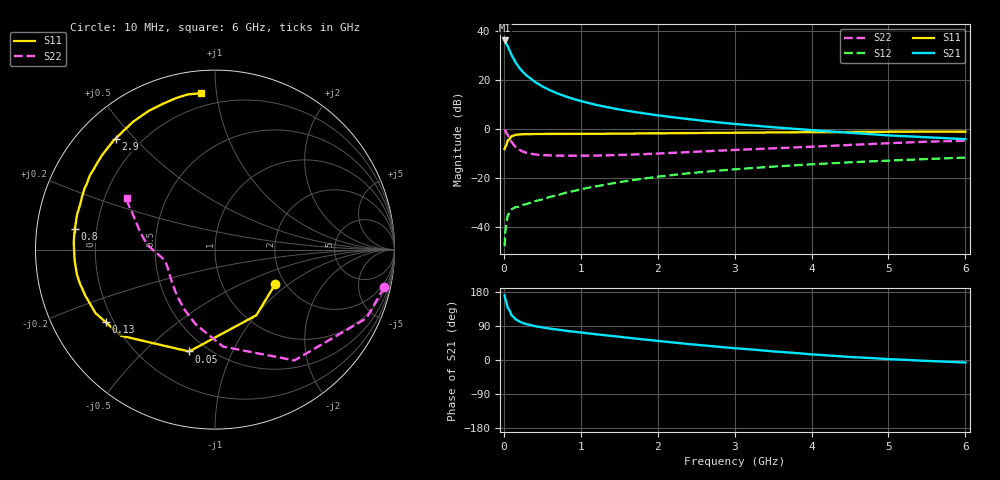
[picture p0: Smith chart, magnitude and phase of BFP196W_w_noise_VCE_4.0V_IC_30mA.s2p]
! Infineon Technologies  Discrete & RF Semiconductors
! BFP196W
! VCE =  4.0 V,  IC =  30 mA
! Common Emitter S-Parameters:  Jan 2017
# GHz  S  MA  R  50
!  f  S11  S21  S12  S22
! GHz  MAG  ANG  MAG  ANG  MAG  ANG  MAG  ANG
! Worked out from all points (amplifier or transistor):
!   77 points, 10 MHz to 6 GHz, reference 50 ohm
!   highest |S21| = 36.1 dB at 10 MHz (marker M1)
!   |S21| within 3 dB of that: start of sweep to 59.51 MHz
!   unconditionally stable (mu >= 1): 840.9 MHz to 3.306 GHz
!   at 130 MHz: K = 0.32, MSG = 30.4 dB, |S12| = -32.4 dB
!   at 2.2 GHz: K = 1.05, MAG = 10.5 dB, |S12| = -18.9 dB
!   at 6 GHz: K = 0.93, MSG = 3.8 dB, |S12| = -11.7 dB
!   lowest NFmin = 1.13 dB at 450 MHz
!   S11 on the Smith chart (normalised r, x): 10 MHz: 1.77, -0.81; 50 MHz: 0.40, -0.70; 130 MHz: 0.17, -0.29; 800 MHz: 0.12, +0.07; 2.9 GHz: 0.11, +0.44; 6 GHz: 0.12, +0.91
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0.01  0.3868 -30.1  64.04 170.6  0.004 83.4  0.9654 -12.6
0.02  0.4322 -57.8  61.32 160.5  0.0079 75.8  0.9265 -24.4
0.05  0.5856 -104.2  48.83 138.0  0.0167 53.9  0.7595 -54.4
0.1  0.7103 -137.5  32.21 117.8  0.0226 41.9  0.5422 -85.3
0.13  0.7309 -146.4  26.66 112.7  0.0241 39.0  0.4683 -95.7
0.15  0.7539 -152.0  23.13 108.0  0.0251 37.2  0.4301 -104.5
0.2  0.7662 -160.2  17.8 101.8  0.0255 38.1  0.3754 -116.8
0.25  0.7763 -166.0  14.43 97.4  0.028 38.1  0.3417 -126.3
0.3  0.7817 -169.8  12.11 94.4  0.0291 38.7  0.3222 -133.1
0.4  0.7843 -175.5  9.18 89.5  0.033 42.8  0.301 -142.8
0.5  0.785 -179.5  7.357 86.0  0.0361 46.6  0.291 -149.1
0.6  0.7875 177.1  6.154 82.8  0.0408 50.0  0.2867 -153.7
0.7  0.7886 174.5  5.273 80.2  0.0439 51.9  0.2831 -157.0
0.8  0.7892 171.6  4.621 77.3  0.0493 54.0  0.2822 -159.3
1.1  0.7927 164.9  3.377 70.3  0.0627 56.6  0.2833 -164.5
1.5  0.799 156.9  2.491 61.3  0.0812 57.4  0.2925 -169.4
2.1  0.8121 145.3  1.806 48.4  0.1095 55.2  0.3179 -175.3
2.9  0.83 131.8  1.304 33.0  0.1445 49.7  0.3645 177.5
3.1  0.8334 128.7  1.221 29.6  0.1528 48.1  0.3761 175.6
4.1  0.8568 114.4  0.919 13.6  0.192 40.5  0.4384 165.0
5.1  0.8725 103.5  0.722 1.5  0.2276 32.7  0.5155 155.0
6  0.8746 95.0  0.616 -6.7  0.2587 25.9  0.5699 149.4
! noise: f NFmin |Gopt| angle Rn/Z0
0.45  1.13  0.45  178  0.05
0.9  1.29  0.52  -176  0.06
1.9  2.14  0.68  -151  0.13
2.4  2.54  0.73  -146  0.22
